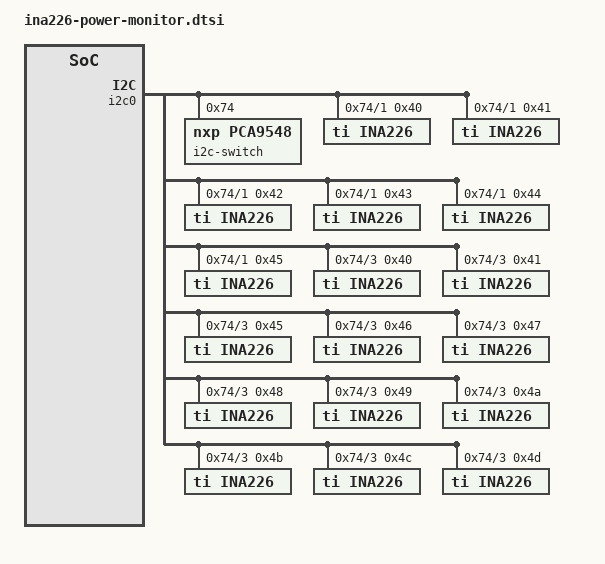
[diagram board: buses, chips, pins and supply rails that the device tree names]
&i2c0 {
	i2c-switch@74 {
		compatible = "nxp,pca9548";
		status = "okay";
		#address-cells = <1>;
		#size-cells = <0>;
		reg = <0x74>;

		i2c@0 { /* pmbus 0 */
			#address-cells = <1>;
			#size-cells = <0>;
			reg = <0>;
		};
		i2c@1 { /* pmbus 1 */
			#address-cells = <1>;
			#size-cells = <0>;
			reg = <1>;

			ina226@40 { /* vccint */
				compatible = "ti,ina226";
				reg = <0x40>;
				shunt-resistor = <500>;
			};

			ina226@41 { /* vcc soc */
				compatible = "ti,ina226";
				reg = <0x41>;
				shunt-resistor = <500>;
			};

			ina226@42 { /* vcc pmc */
				compatible = "ti,ina226";
				reg = <0x42>;
				shunt-resistor = <5000>;
			};

			ina226@43 { /* vcc ram */
				compatible = "ti,ina226";
				reg = <0x43>;
				shunt-resistor = <5000>;
			};

			ina226@44 { /* vcc pslp */
				compatible = "ti,ina226";
				reg = <0x44>;
				shunt-resistor = <5000>;
			};

			ina226@45 { /* vcc psfp */
				compatible = "ti,ina226";
				reg = <0x45>;
				shunt-resistor = <5000>;
			};
		};
		i2c@2 {
			#address-cells = <1>;
			#size-cells = <0>;
			reg = <2>;
		};
		i2c@3 { /* pmbus 3 */
			#address-cells = <1>;
			#size-cells = <0>;
			reg = <3>;

			ina226@40 { /* vccaux */
				compatible = "ti,ina226";
				reg = <0x40>;
				shunt-resistor = <5000>;
			};

			ina226@41 { /* vccaux pmc */
				compatible = "ti,ina226";
				reg = <0x41>;
				shunt-resistor = <5000>;
			};

			ina226@45 { /* vcco mio */
				compatible = "ti,ina226";
				reg = <0x45>;
				shunt-resistor = <5000>;
			};

			ina226@46 { /* vcc 1v8 */
				compatible = "ti,ina226";
				reg = <0x46>;
				shunt-resistor = <5000>;
			};

			ina226@47 { /* vcc 3v3 */
				compatible = "ti,ina226";
				reg = <0x47>;
				shunt-resistor = <5000>;
			};

			ina226@48 { /* vcc 1v2 ddr4 */
				compatible = "ti,ina226";
				reg = <0x48>;
				shunt-resistor = <5000>;
			};

			ina226@49 { /* vcc1v1 lp4 */
				compatible = "ti,ina226";
				reg = <0x49>;
				shunt-resistor = <5000>;
			};

			ina226@4a { /* vadj fmc */
				compatible = "ti,ina226";
				reg = <0x4a>;
				shunt-resistor = <2000>;
			};

			ina226@4b { /* mgtyavcc */
				compatible = "ti,ina226";
				reg = <0x4b>;
				shunt-resistor = <2000>;
			};

			ina226@4c { /* mgtyavtt */
				compatible = "ti,ina226";
				reg = <0x4c>;
				shunt-resistor = <2000>;
			};

			ina226@4d { /* mgty vccaux */
				compatible = "ti,ina226";
				reg = <0x4d>;
				shunt-resistor = <5000>;
			};
		};
		i2c@4 {
			#address-cells = <1>;
			#size-cells = <0>;
			reg = <4>;
		};
		i2c@5 {
			#address-cells = <1>;
			#size-cells = <0>;
			reg = <5>;
		};
		i2c@6 {
			#address-cells = <1>;
			#size-cells = <0>;
			reg = <6>;
		};
		i2c@7 {
			#address-cells = <1>;
			#size-cells = <0>;
			reg = <7>;
		};
	};
};
